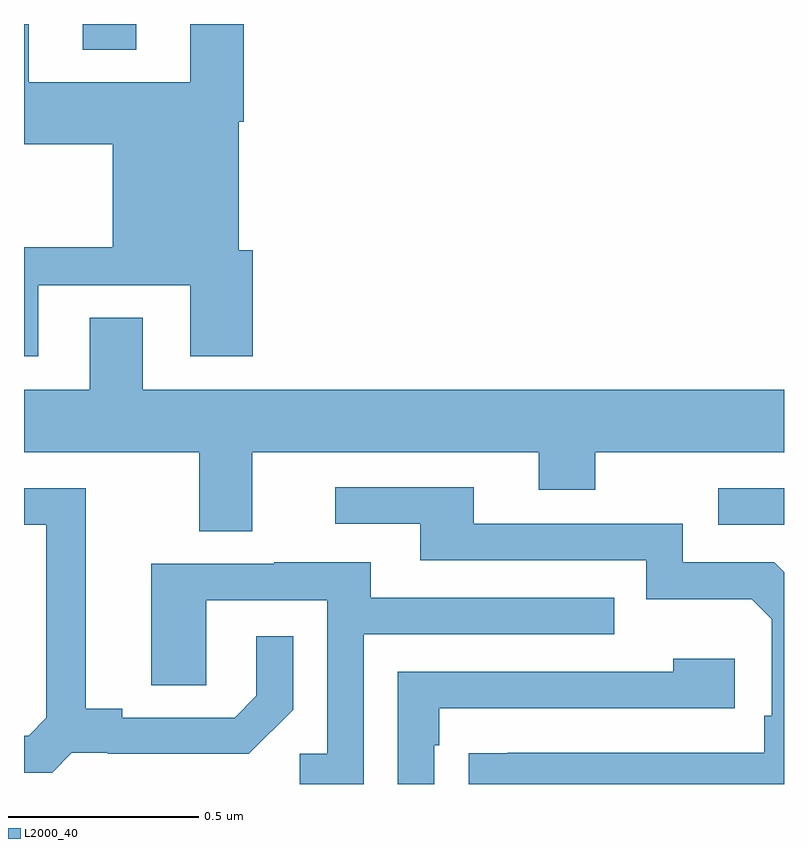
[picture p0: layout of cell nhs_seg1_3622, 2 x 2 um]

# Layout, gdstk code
import gdstk
lib = gdstk.Library(unit=1e-6, precision=1e-09)
def R(c, l, rs):  # rectangles x0, y0, x1, y1
    for r in rs: c.add(gdstk.rectangle(r[:2], r[2:], *l))
def P(c, l, *ps):  # polygons
    for p in ps: c.add(gdstk.Polygon(p, *l))
L2000_40 = (2000, 40)

nhs_seg1_3622 = lib.new_cell('nhs_seg1_3622')
R(nhs_seg1_3622, L2000_40, [(157.827,544.881,158,544.977), (156.155,546.131,156.295,546.199)])
P(nhs_seg1_3622, L2000_40, [(156.037,545.511),(156.437,545.511),(156.437,545.325),(156.602,545.325),(156.602,545.604),(156.565,545.604),(156.565,545.942),(156.578,545.942),(156.578,546.199),(156.437,546.199),(156.437,546.046),(156.013,546.046),(156.013,546.199),(156,546.199),(156,545.882),(156.233,545.882),(156.233,545.612),(156,545.612),(156,545.325),(156.037,545.325)],
  [(156.601,545.072),(157.355,545.072),(157.355,544.973),(157.503,544.973),(157.503,545.072),(158,545.072),(158,545.236),(156.313,545.236),(156.313,545.426),(156.173,545.426),(156.173,545.236),(156,545.236),(156,545.072),(156.461,545.072),(156.461,544.864),(156.601,544.864)],
  [(158,544.756),(157.974,544.782),(157.734,544.782),(157.734,544.884),(157.183,544.884),(157.183,544.98),(156.819,544.98),(156.819,544.884),(157.043,544.884),(157.043,544.788),(157.638,544.788),(157.638,544.685),(157.915,544.685),(157.968,544.632),(157.968,544.378),(157.948,544.378),(157.948,544.281),(157.273,544.281),(157.273,544.28),(157.171,544.28),(157.171,544.199),(158,544.199)],
  [(156.126,544.281),(156.22,544.281),(156.22,544.278),(156.592,544.278),(156.708,544.394),(156.708,544.588),(156.611,544.588),(156.611,544.431),(156.554,544.374),(156.259,544.374),(156.259,544.397),(156.163,544.397),(156.163,544.977),(156,544.977),(156,544.881),(156.059,544.881),(156.059,544.373),(156.012,544.326),(156,544.326),(156,544.229),(156.074,544.229)],
  [(156.894,544.593),(157.553,544.593),(157.553,544.689),(156.913,544.689),(156.913,544.783),(156.659,544.783),(156.659,544.779),(156.335,544.779),(156.335,544.459),(156.48,544.459),(156.48,544.683),(156.798,544.683),(156.798,544.278),(156.726,544.278),(156.726,544.199),(156.894,544.199)],
  [(157.08,544.301),(157.093,544.301),(157.093,544.398),(157.87,544.398),(157.87,544.528),(157.709,544.528),(157.709,544.494),(156.984,544.494),(156.984,544.199),(157.08,544.199)])

lib.write_gds('nhs_seg1_3622.gds')
